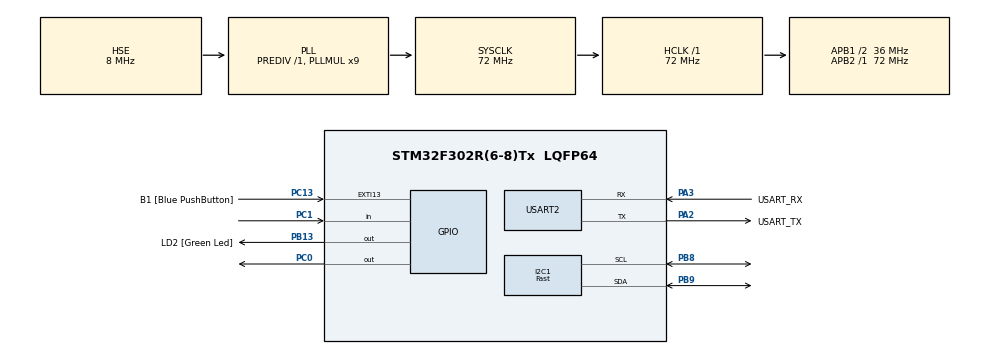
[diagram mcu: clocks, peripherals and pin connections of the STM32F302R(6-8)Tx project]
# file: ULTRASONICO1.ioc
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I2C1.I2C_Speed_Mode=I2C_Fast
I2C1.Timing=0x0000020B
Mcu.Family=STM32F3
Mcu.Name=STM32F302R(6-8)Tx
Mcu.Package=LQFP64
NVIC.PriorityGroup=NVIC_PRIORITYGROUP_0
PA13.GPIO_Label=TMS
PA13.Mode=Serial_Wire
PA13.Signal=SYS_JTMS-SWDIO
PA14.GPIO_Label=TCK
PA14.Mode=Serial_Wire
PA14.Signal=SYS_JTCK-SWCLK
PA2.GPIO_Label=USART_TX
PA2.GPIO_Mode=GPIO_MODE_AF_PP
PA2.GPIO_PuPd=GPIO_NOPULL
PA2.GPIO_Speed=GPIO_SPEED_FREQ_LOW
PA2.Mode=Asynchronous
PA2.Signal=USART2_TX
PA3.GPIO_Label=USART_RX
PA3.GPIO_Mode=GPIO_MODE_AF_PP
PA3.GPIO_PuPd=GPIO_NOPULL
PA3.GPIO_Speed=GPIO_SPEED_FREQ_LOW
PA3.Mode=Asynchronous
PA3.Signal=USART2_RX
PB13.GPIO_Label=LD2 [Green Led]
PB13.Signal=GPIO_Output
PB3.GPIO_Label=SWO
PB3.Mode=Trace_Asynchronous_SW
PB3.Signal=SYS_JTDO-TRACESWO
PB8.Mode=I2C
PB8.Signal=I2C1_SCL
PB9.Mode=I2C
PB9.Signal=I2C1_SDA
PC0.Signal=GPIO_Output
PC1.Signal=GPIO_Input
PC13.GPIO_Label=B1 [Blue PushButton]
PC13.GPIO_ModeDefaultEXTI=GPIO_MODE_IT_FALLING
PC13.Signal=GPXTI13
PC14\ -\ OSC32_IN.Signal=RCC_OSC32_IN
PC15\ -\ OSC32_OUT.Signal=RCC_OSC32_OUT
PF0-OSC_IN.Mode=HSE-External-Oscillator
PF0-OSC_IN.Signal=RCC_OSC_IN
PF1-OSC_OUT.Mode=HSE-External-Oscillator
PF1-OSC_OUT.Signal=RCC_OSC_OUT
ProjectManager.HeapSize=0x200
ProjectManager.StackSize=0x400
ProjectManager.TargetToolchain=STM32CubeIDE
RCC.AHBFreq_Value=72000000
RCC.APB1CLKDivider=RCC_HCLK_DIV2
RCC.APB1Freq_Value=36000000
RCC.APB1TimFreq_Value=72000000
RCC.APB2Freq_Value=72000000
RCC.APB2TimFreq_Value=72000000
RCC.CortexFreq_Value=72000000
RCC.HCLKFreq_Value=72000000
RCC.HSE_VALUE=8000000
RCC.HSI_VALUE=8000000
RCC.LSE_VALUE=32768
RCC.PLLM=8
RCC.PLLMUL=RCC_PLL_MUL9
RCC.PLLN=336
RCC.PLLP=RCC_PLLP_DIV4
RCC.PLLQ=7
RCC.PLLSourceVirtual=RCC_PLLSOURCE_HSE
RCC.SYSCLKFreq_VALUE=72000000
RCC.SYSCLKSourceVirtual=RCC_SYSCLKSOURCE_PLLCLK
RCC.USBFreq_Value=72000000
TIM1.Prescaler=71
USART2.VirtualMode-Asynchronous=VM_ASYNC
VP_TIM1_VS_ClockSourceINT.Mode=Internal
board=NUCLEO-F302R8

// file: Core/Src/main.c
/* USER CODE BEGIN Header */
/**
  ******************************************************************************
  * @file           : main.c
  * @brief          : Main program body
  ******************************************************************************
  * @attention
  *
  * Copyright (c) 2023 STMicroelectronics.
  * All rights reserved.
  *
  * This software is licensed under terms that can be found in the LICENSE file
  * in the root directory of this software component.
  * If no LICENSE file comes with this software, it is provided AS-IS.
  *
  ******************************************************************************
  */
/* USER CODE END Header */
#include "main.h"

/* USER CODE BEGIN Includes */
#include "i2c-lcd.h"
#include "stdio.h"
/* USER CODE END Includes */

I2C_HandleTypeDef hi2c1;

TIM_HandleTypeDef htim1;

UART_HandleTypeDef huart2;

/* USER CODE BEGIN PV */
#define TRIG_PIN GPIO_PIN_0
#define TRIG_PORT GPIOC
#define ECHO_PIN GPIO_PIN_1
#define ECHO_PORT GPIOC
uint32_t pMillis;
uint32_t Value1 = 0;
uint32_t Value2 = 0;
uint16_t Distance  = 0;  // cm
char strCopy[15];
/* USER CODE END PV */

void SystemClock_Config(void);
static void MX_GPIO_Init(void);
static void MX_USART2_UART_Init(void);
static void MX_I2C1_Init(void);
static void MX_TIM1_Init(void);

int main(void)
{

  /* MCU Configuration--------------------------------------------------------*/

  /* Reset of all peripherals, Initializes the Flash interface and the Systick. */
  HAL_Init();

  /* Configure the system clock */
  SystemClock_Config();

  /* Initialize all configured peripherals */
  MX_GPIO_Init();
  MX_USART2_UART_Init();
  MX_I2C1_Init();
  MX_TIM1_Init();
  /* USER CODE BEGIN 2 */
  HAL_TIM_Base_Start(&htim1);
    HAL_GPIO_WritePin(TRIG_PORT, TRIG_PIN, GPIO_PIN_RESET);  // pull the TRIG pin low
    lcd_init();
  /* USER CODE END 2 */

  /* Infinite loop */
  /* USER CODE BEGIN WHILE */
    lcd_send_string ("Dist= ");

  while (1)
  {
	  HAL_GPIO_WritePin(TRIG_PORT, TRIG_PIN, GPIO_PIN_SET);  // pull the TRIG pin HIGH
	     __HAL_TIM_SET_COUNTER(&htim1, 0);
	     while (__HAL_TIM_GET_COUNTER (&htim1) < 10);  // wait for 10 us
	     HAL_GPIO_WritePin(TRIG_PORT, TRIG_PIN, GPIO_PIN_RESET);  // pull the TRIG pin low

	     pMillis = HAL_GetTick(); // used this to avoid infinite while loop  (for timeout)
	     // wait for the echo pin to go high
	     while (!(HAL_GPIO_ReadPin (ECHO_PORT, ECHO_PIN)) && pMillis + 10 >  HAL_GetTick());
	     Value1 = __HAL_TIM_GET_COUNTER (&htim1);

	     pMillis = HAL_GetTick(); // used this to avoid infinite while loop (for timeout)
	     // wait for the echo pin to go low
	     while ((HAL_GPIO_ReadPin (ECHO_PORT, ECHO_PIN)) && pMillis + 50 > HAL_GetTick());
	     Value2 = __HAL_TIM_GET_COUNTER (&htim1);

	     Distance = (Value2-Value1)* 0.034/2;
	     // Limpia el espacio para la distancia
		        lcd_put_cur(0, 6);  // Establece el cursor en la columna 7, fila 0
		         lcd_send_data(' ');  // Borra el espacio anterior

		         // Muestra los dígitos de la distancia en el lugar deseado
		       	         lcd_put_cur(0, 6);  // Establece el cursor en la columna 7, fila 0
		       	         lcd_send_data((Distance / 100) + 48);  // 100th pos
		       	         lcd_send_data(((Distance / 10) % 10) + 48);  // 10th pos
		       	         lcd_send_data((Distance % 10) + 48);  // 1st pos
		       	         lcd_send_string(" cm");
		       	         HAL_Delay(800);
    /* USER CODE END WHILE */

  }
}

void SystemClock_Config(void)
{
  RCC_OscInitTypeDef RCC_OscInitStruct = {0};
  RCC_ClkInitTypeDef RCC_ClkInitStruct = {0};
  RCC_PeriphCLKInitTypeDef PeriphClkInit = {0};

  /** Initializes the RCC Oscillators according to the specified parameters
  * in the RCC_OscInitTypeDef structure.
  */
  RCC_OscInitStruct.OscillatorType = RCC_OSCILLATORTYPE_HSI|RCC_OSCILLATORTYPE_HSE;
  RCC_OscInitStruct.HSEState = RCC_HSE_ON;
  RCC_OscInitStruct.HSEPredivValue = RCC_HSE_PREDIV_DIV1;
  RCC_OscInitStruct.HSIState = RCC_HSI_ON;
  RCC_OscInitStruct.HSICalibrationValue = RCC_HSICALIBRATION_DEFAULT;
  RCC_OscInitStruct.PLL.PLLState = RCC_PLL_ON;
  RCC_OscInitStruct.PLL.PLLSource = RCC_PLLSOURCE_HSE;
  RCC_OscInitStruct.PLL.PLLMUL = RCC_PLL_MUL9;
  if (HAL_RCC_OscConfig(&RCC_OscInitStruct) != HAL_OK)
  {
    Error_Handler();
  }

  /** Initializes the CPU, AHB and APB buses clocks
  */
  RCC_ClkInitStruct.ClockType = RCC_CLOCKTYPE_HCLK|RCC_CLOCKTYPE_SYSCLK
                              |RCC_CLOCKTYPE_PCLK1|RCC_CLOCKTYPE_PCLK2;
  RCC_ClkInitStruct.SYSCLKSource = RCC_SYSCLKSOURCE_PLLCLK;
  RCC_ClkInitStruct.AHBCLKDivider = RCC_SYSCLK_DIV1;
  RCC_ClkInitStruct.APB1CLKDivider = RCC_HCLK_DIV2;
  RCC_ClkInitStruct.APB2CLKDivider = RCC_HCLK_DIV1;

  if (HAL_RCC_ClockConfig(&RCC_ClkInitStruct, FLASH_LATENCY_2) != HAL_OK)
  {
    Error_Handler();
  }
  PeriphClkInit.PeriphClockSelection = RCC_PERIPHCLK_I2C1|RCC_PERIPHCLK_TIM1;
  PeriphClkInit.I2c1ClockSelection = RCC_I2C1CLKSOURCE_HSI;
  PeriphClkInit.Tim1ClockSelection = RCC_TIM1CLK_HCLK;
  if (HAL_RCCEx_PeriphCLKConfig(&PeriphClkInit) != HAL_OK)
  {
    Error_Handler();
  }
}

static void MX_I2C1_Init(void)
{

  hi2c1.Instance = I2C1;
  hi2c1.Init.Timing = 0x0000020B;
  hi2c1.Init.OwnAddress1 = 0;
  hi2c1.Init.AddressingMode = I2C_ADDRESSINGMODE_7BIT;
  hi2c1.Init.DualAddressMode = I2C_DUALADDRESS_DISABLE;
  hi2c1.Init.OwnAddress2 = 0;
  hi2c1.Init.OwnAddress2Masks = I2C_OA2_NOMASK;
  hi2c1.Init.GeneralCallMode = I2C_GENERALCALL_DISABLE;
  hi2c1.Init.NoStretchMode = I2C_NOSTRETCH_DISABLE;
  if (HAL_I2C_Init(&hi2c1) != HAL_OK)
  {
    Error_Handler();
  }

  /** Configure Analogue filter
  */
  if (HAL_I2CEx_ConfigAnalogFilter(&hi2c1, I2C_ANALOGFILTER_ENABLE) != HAL_OK)
  {
    Error_Handler();
  }

  /** Configure Digital filter
  */
  if (HAL_I2CEx_ConfigDigitalFilter(&hi2c1, 0) != HAL_OK)
  {
    Error_Handler();
  }

}

static void MX_TIM1_Init(void)
{

  TIM_ClockConfigTypeDef sClockSourceConfig = {0};
  TIM_MasterConfigTypeDef sMasterConfig = {0};

  htim1.Instance = TIM1;
  htim1.Init.Prescaler = 71;
  htim1.Init.CounterMode = TIM_COUNTERMODE_UP;
  htim1.Init.Period = 65535;
  htim1.Init.ClockDivision = TIM_CLOCKDIVISION_DIV1;
  htim1.Init.RepetitionCounter = 0;
  htim1.Init.AutoReloadPreload = TIM_AUTORELOAD_PRELOAD_DISABLE;
  if (HAL_TIM_Base_Init(&htim1) != HAL_OK)
  {
    Error_Handler();
  }
  sClockSourceConfig.ClockSource = TIM_CLOCKSOURCE_INTERNAL;
  if (HAL_TIM_ConfigClockSource(&htim1, &sClockSourceConfig) != HAL_OK)
  {
    Error_Handler();
  }
  sMasterConfig.MasterOutputTrigger = TIM_TRGO_RESET;
  sMasterConfig.MasterOutputTrigger2 = TIM_TRGO2_RESET;
  sMasterConfig.MasterSlaveMode = TIM_MASTERSLAVEMODE_DISABLE;
  if (HAL_TIMEx_MasterConfigSynchronization(&htim1, &sMasterConfig) != HAL_OK)
  {
    Error_Handler();
  }

}

static void MX_USART2_UART_Init(void)
{

  huart2.Instance = USART2;
  huart2.Init.BaudRate = 38400;
  huart2.Init.WordLength = UART_WORDLENGTH_8B;
  huart2.Init.StopBits = UART_STOPBITS_1;
  huart2.Init.Parity = UART_PARITY_NONE;
  huart2.Init.Mode = UART_MODE_TX_RX;
  huart2.Init.HwFlowCtl = UART_HWCONTROL_NONE;
  huart2.Init.OverSampling = UART_OVERSAMPLING_16;
  huart2.Init.OneBitSampling = UART_ONE_BIT_SAMPLE_DISABLE;
  huart2.AdvancedInit.AdvFeatureInit = UART_ADVFEATURE_NO_INIT;
  if (HAL_UART_Init(&huart2) != HAL_OK)
  {
    Error_Handler();
  }

}

static void MX_GPIO_Init(void)
{
  GPIO_InitTypeDef GPIO_InitStruct = {0};

  /* GPIO Ports Clock Enable */
  __HAL_RCC_GPIOC_CLK_ENABLE();
  __HAL_RCC_GPIOF_CLK_ENABLE();
  __HAL_RCC_GPIOA_CLK_ENABLE();
  __HAL_RCC_GPIOB_CLK_ENABLE();

  /*Configure GPIO pin Output Level */
  HAL_GPIO_WritePin(GPIOC, GPIO_PIN_0, GPIO_PIN_RESET);

  /*Configure GPIO pin Output Level */
  HAL_GPIO_WritePin(LD2_GPIO_Port, LD2_Pin, GPIO_PIN_RESET);

  /*Configure GPIO pin : B1_Pin */
  GPIO_InitStruct.Pin = B1_Pin;
  GPIO_InitStruct.Mode = GPIO_MODE_IT_FALLING;
  GPIO_InitStruct.Pull = GPIO_NOPULL;
  HAL_GPIO_Init(B1_GPIO_Port, &GPIO_InitStruct);

  /*Configure GPIO pin : PC0 */
  GPIO_InitStruct.Pin = GPIO_PIN_0;
  GPIO_InitStruct.Mode = GPIO_MODE_OUTPUT_PP;
  GPIO_InitStruct.Pull = GPIO_NOPULL;
  GPIO_InitStruct.Speed = GPIO_SPEED_FREQ_LOW;
  HAL_GPIO_Init(GPIOC, &GPIO_InitStruct);

  /*Configure GPIO pin : PC1 */
  GPIO_InitStruct.Pin = GPIO_PIN_1;
  GPIO_InitStruct.Mode = GPIO_MODE_INPUT;
  GPIO_InitStruct.Pull = GPIO_NOPULL;
  HAL_GPIO_Init(GPIOC, &GPIO_InitStruct);

  /*Configure GPIO pin : LD2_Pin */
  GPIO_InitStruct.Pin = LD2_Pin;
  GPIO_InitStruct.Mode = GPIO_MODE_OUTPUT_PP;
  GPIO_InitStruct.Pull = GPIO_NOPULL;
  GPIO_InitStruct.Speed = GPIO_SPEED_FREQ_LOW;
  HAL_GPIO_Init(LD2_GPIO_Port, &GPIO_InitStruct);

}

void Error_Handler(void)
{
  __disable_irq();
  while (1)
  {
  }
}
